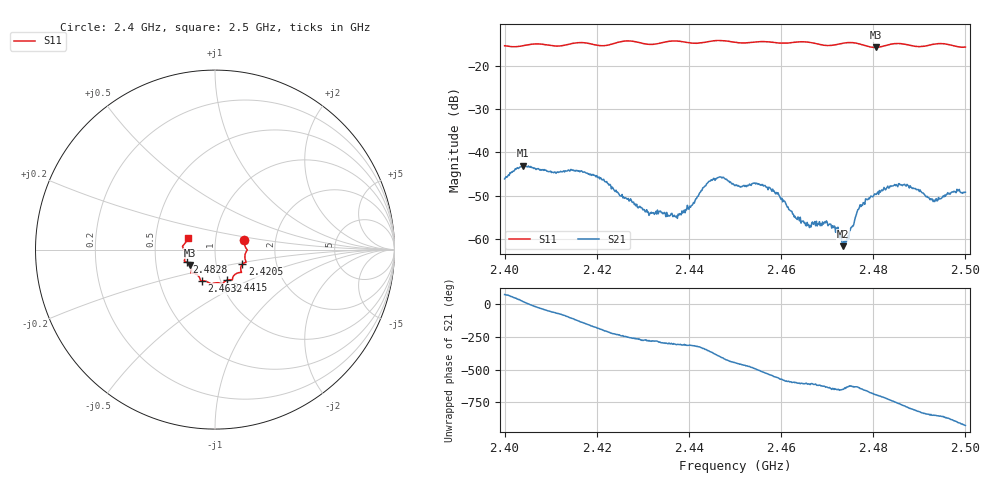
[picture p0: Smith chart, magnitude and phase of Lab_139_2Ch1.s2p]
# Hz S RI R 50
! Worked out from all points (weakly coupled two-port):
!   601 points, 2.4 GHz to 2.5 GHz, reference 50 ohm
!   highest |S21| = -43.04 dB at 2.404 GHz (marker M1); lowest = -61.7 dB at 2.4735 GHz (marker M2)
!   lowest |S11| = -15.7 dB at 2.4807 GHz (marker M3), VSWR 1.39, Z = 37.2 - j6.56 ohm
!   |S11| at or under -10 dB: start of sweep to end of sweep
!   S12 and S22 are empty: the file has one direction only
!   S11 on the Smith chart (normalised r, x): 2.4 GHz: 1.38, +0.15; 2.4205 GHz: 1.34, -0.22; 2.4415 GHz: 1.07, -0.38; 2.4632 GHz: 0.82, -0.29; 2.4828 GHz: 0.72, -0.10; 2.5 GHz: 0.73, +0.10
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2.4e9  0.1635 0.0517  0.00134 0.00476  0 0  0 0
2.404e9  0.1714 0.0103  0.00662 0.00243  0 0  0 0
2.416667e9  0.173 -0.07  -0.00441 -0.00427  0 0  0 0
2.4205e9  0.1519 -0.0816  -0.00518 0.000545  0 0  0 0
2.431e9  0.118 -0.1339  0.000248 0.00201  0 0  0 0
2.433333e9  0.1001 -0.1516  0.000538 0.00187  0 0  0 0
2.4375e9  0.0954 -0.1691  0.00102 0.00139  0 0  0 0
2.4415e9  0.0658 -0.1708  0.00223 0.00187  0 0  0 0
2.445e9  0.0433 -0.1898  0.00471 -0.000647  0 0  0 0
2.45e9  0.0243 -0.1862  0.000218 -0.00412  0 0  0 0
2.457833e9  -0.0307 -0.1864  -0.00373 0.000128  0 0  0 0
2.463167e9  -0.0731 -0.1738  -0.000926 0.00148  0 0  0 0
2.466667e9  -0.0821 -0.167  -0.000617 0.0014  0 0  0 0
2.470333e9  -0.1021 -0.1388  0.000238 0.00144  0 0  0 0
2.4735e9  -0.1298 -0.13  0.000287 0.000773  0 0  0 0
2.477e9  -0.1319 -0.1224  0.000328 0.00229  0 0  0 0
2.480667e9  -0.1397 -0.0857  0.00291 0.0015  0 0  0 0
2.482833e9  -0.1584 -0.0702  0.00381 -1.3e-05  0 0  0 0
2.483333e9  -0.1624 -0.0682  0.00385 -0.000487  0 0  0 0
2.487167e9  -0.1688 -0.0543  0.00174 -0.0037  0 0  0 0
2.4935e9  -0.1793 0.0127  -0.0018 -0.00221  0 0  0 0
2.5e9  -0.1526 0.0643  -0.0031 0.00156  0 0  0 0
